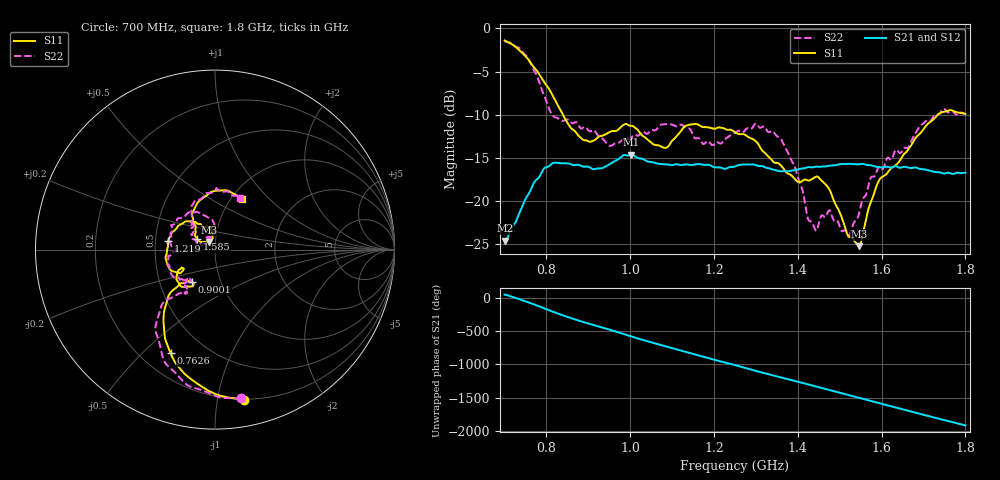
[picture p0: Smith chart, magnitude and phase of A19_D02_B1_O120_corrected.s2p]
! Created with skrf 1.9.0 (http://scikit-rf.org).
# Hz S RI R 50.0
!freq ReS11 ImS11 ReS21 ImS21 ReS12 ImS12 ReS22 ImS22
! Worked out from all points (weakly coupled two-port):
!   1601 points, 700 MHz to 1.8 GHz, reference 50 ohm
!   highest |S21| = -14.62 dB at 1.002 GHz (marker M1); lowest = -24.6 dB at 700.7 MHz (marker M2)
!   lowest |S11| = -25.2 dB at 1.546 GHz (marker M3), VSWR 1.12, Z = 46.5 + j3.96 ohm
!   |S11| at or under -10 dB: 839.2 MHz to 1.734 GHz (894.7 MHz wide, 69.5 % of centre)
!   |S22| runs from -23.9 to -1.5 dB; largest |S21 - S12| = 0.0034
!   S11 on the Smith chart (normalised r, x): 700 MHz: 0.20, -1.19; 762.6 MHz: 0.32, -0.61; 900.1 MHz: 0.73, -0.28; 1.219 GHz: 0.58, +0.06; 1.585 GHz: 0.81, +0.10; 1.8 GHz: 1.12, +0.70
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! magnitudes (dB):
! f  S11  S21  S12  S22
! 700 MHz  -1.4  -24.6  -24.4  -1.5
! 700.7 MHz  -1.4  -24.6  -24.3  -1.5
! 762.6 MHz  -4.0  -18.7  -18.6  -4.1
! 814.1 MHz  -7.7  -15.6  -15.7  -10.1
! 883.6 MHz  -12.7  -15.9  -15.8  -11.6
! 900.1 MHz  -13.1  -16.0  -16.0  -11.8
! 951.6 MHz  -12.0  -15.7  -15.7  -13.6
! 1.002 GHz  -11.3  -14.6  -14.7  -12.7
! 1.067 GHz  -13.5  -15.7  -15.6  -11.4
! 1.138 GHz  -11.2  -15.8  -15.7  -11.6
! 1.219 GHz  -11.5  -16.2  -16.2  -13.2
! 1.25 GHz  -12.0  -16.0  -15.9  -12.1
! 1.3 GHz  -13.1  -15.8  -15.8  -11.0
! 1.359 GHz  -15.8  -16.5  -16.5  -12.7
! 1.434 GHz  -17.5  -16.1  -16.0  -22.4
! 1.473 GHz  -18.5  -15.9  -15.9  -21.1
! 1.522 GHz  -24.1  -15.7  -15.7  -23.9
! 1.546 GHz  -25.2  -15.7  -15.7  -21.4
! 1.585 GHz  -18.7  -16.0  -16.0  -17.0
! 1.617 GHz  -16.5  -16.1  -16.0  -15.0
! 1.737 GHz  -9.9  -16.6  -16.7  -10.0
! 1.8 GHz  -9.9  -16.7  -16.7  -9.9
